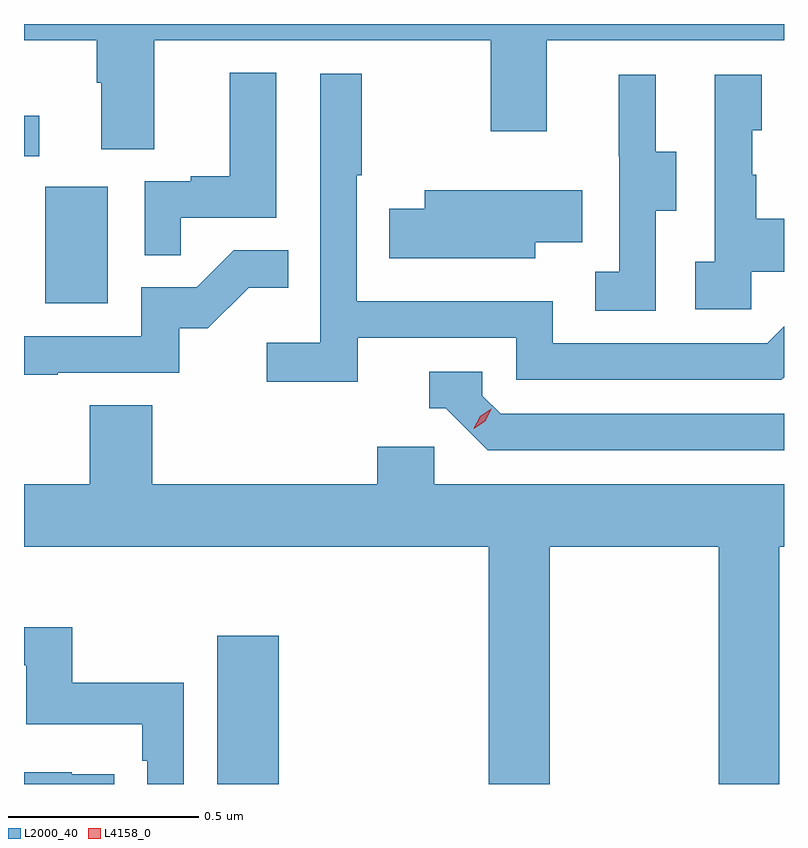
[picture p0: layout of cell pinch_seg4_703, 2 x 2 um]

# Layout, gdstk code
import gdstk
lib = gdstk.Library(unit=1e-6, precision=1e-09)
def R(c, l, rs):  # rectangles x0, y0, x1, y1
    for r in rs: c.add(gdstk.rectangle(r[:2], r[2:], *l))
def P(c, l, *ps):  # polygons
    for p in ps: c.add(gdstk.Polygon(p, *l))
L2000_40 = (2000, 40)
L4158_0 = (4158, 0)

pinch_seg4_703 = lib.new_cell('pinch_seg4_703')
R(pinch_seg4_703, L2000_40, [(1133.471,758.899,1133.632,759.289), (1133.018,760.164,1133.182,760.471), (1132.962,760.551,1133.002,760.657)])
P(pinch_seg4_703, L2000_40, [(1133.305,760.856),(1134.19,760.856),(1134.19,760.617),(1134.337,760.617),(1134.337,760.856),(1134.962,760.856),(1134.962,760.899),(1132.962,760.899),(1132.962,760.856),(1133.153,760.856),(1133.153,760.744),(1133.165,760.744),(1133.165,760.57),(1133.305,760.57)],
  [(1133.375,760.389),(1133.626,760.389),(1133.626,760.771),(1133.504,760.771),(1133.504,760.498),(1133.401,760.498),(1133.401,760.485),(1133.28,760.485),(1133.28,760.291),(1133.375,760.291)],
  [(1133.84,760.074),(1134.258,760.074),(1134.258,759.963),(1134.955,759.963),(1134.962,759.97),(1134.962,760.103),(1134.918,760.059),(1134.354,760.059),(1134.354,760.17),(1133.838,760.17),(1133.838,760.501),(1133.851,760.501),(1133.851,760.768),(1133.742,760.768),(1133.742,760.06),(1133.601,760.06),(1133.601,759.958),(1133.84,759.958)],
  [(1134.624,760.408),(1134.679,760.408),(1134.679,760.563),(1134.625,760.563),(1134.625,760.765),(1134.527,760.765),(1134.527,760.551),(1134.528,760.551),(1134.528,760.247),(1134.465,760.247),(1134.465,760.144),(1134.624,760.144)],
  [(1134.876,760.247),(1134.962,760.247),(1134.962,760.387),(1134.889,760.387),(1134.889,760.502),(1134.879,760.502),(1134.879,760.62),(1134.904,760.62),(1134.904,760.765),(1134.78,760.765),(1134.78,760.274),(1134.729,760.274),(1134.729,760.149),(1134.876,760.149)],
  [(1134.307,760.325),(1134.431,760.325),(1134.431,760.462),(1134.017,760.462),(1134.017,760.413),(1133.923,760.413),(1133.923,760.283),(1134.307,760.283)],
  [(1133.051,759.981),(1133.37,759.981),(1133.37,760.098),(1133.446,760.098),(1133.553,760.205),(1133.657,760.205),(1133.657,760.304),(1133.514,760.304),(1133.416,760.206),(1133.271,760.206),(1133.271,760.077),(1132.962,760.077),(1132.962,759.976),(1133.051,759.976)],
  [(1134.962,759.873),(1134.216,759.873),(1134.168,759.921),(1134.168,759.984),(1134.029,759.984),(1134.029,759.888),(1134.072,759.888),(1134.183,759.777),(1134.962,759.777)],
  [(1134.345,759.524),(1134.79,759.524),(1134.79,758.899),(1134.95,758.899),(1134.95,759.524),(1134.962,759.524),(1134.962,759.688),(1134.042,759.688),(1134.042,759.786),(1133.891,759.786),(1133.891,759.688),(1133.3,759.688),(1133.3,759.896),(1133.135,759.896),(1133.135,759.688),(1132.962,759.688),(1132.962,759.524),(1134.185,759.524),(1134.185,758.899),(1134.345,758.899)],
  [(1133.382,759.166),(1133.089,759.166),(1133.089,759.312),(1132.962,759.312),(1132.962,759.211),(1132.968,759.211),(1132.968,759.056),(1133.273,759.056),(1133.273,758.96),(1133.286,758.96),(1133.286,758.899),(1133.382,758.899)],
  [(1133.2,758.925),(1133.087,758.925),(1133.087,758.93),(1132.962,758.93),(1132.962,758.899),(1133.2,758.899)])
P(pinch_seg4_703, L4158_0, [(1134.146,759.834),(1134.146,759.835),(1134.162,759.867),(1134.192,759.887),(1134.192,759.887),(1134.192,759.887),(1134.176,759.854),(1134.146,759.834)])

lib.write_gds('pinch_seg4_703.gds')
